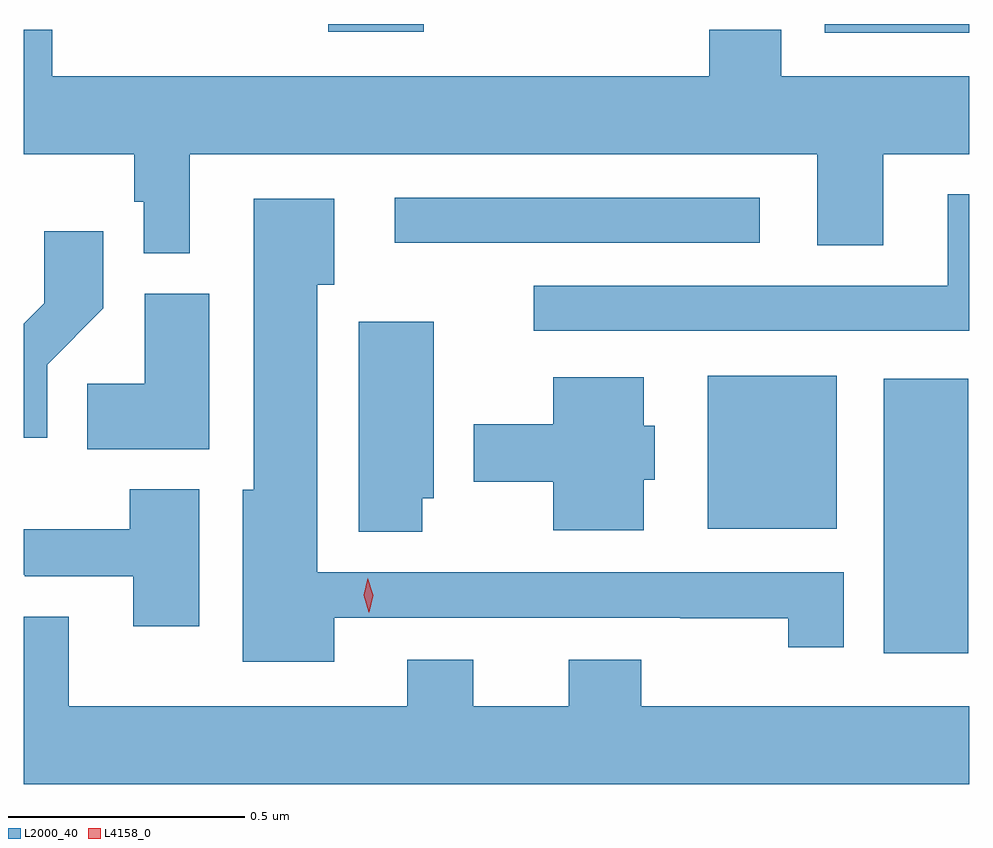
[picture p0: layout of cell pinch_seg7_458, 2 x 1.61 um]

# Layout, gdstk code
import gdstk
lib = gdstk.Library(unit=1e-6, precision=1e-09)
def R(c, l, rs):  # rectangles x0, y0, x1, y1
    for r in rs: c.add(gdstk.rectangle(r[:2], r[2:], *l))
def P(c, l, *ps):  # polygons
    for p in ps: c.add(gdstk.Polygon(p, *l))
L2000_40 = (2000, 40)
L4158_0 = (4158, 0)

pinch_seg7_458 = lib.new_cell('pinch_seg7_458')
R(pinch_seg7_458, L2000_40, [(271.7,1076.816,271.879,1077.397), (271.328,1077.08,271.6,1077.403), (270.666,1077.684,271.438,1077.78), (271.575,1078.128,271.881,1078.147), (270.525,1078.131,270.727,1078.147)])
P(pinch_seg7_458, L2000_40, [(270.232,1077.872),(271.559,1077.872),(271.559,1077.679),(271.699,1077.679),(271.699,1077.872),(271.881,1077.872),(271.881,1078.036),(271.483,1078.036),(271.483,1078.135),(271.331,1078.135),(271.331,1078.036),(269.942,1078.036),(269.942,1078.135),(269.881,1078.135),(269.881,1077.872),(270.115,1077.872),(270.115,1077.771),(270.135,1077.771),(270.135,1077.662),(270.232,1077.662)],
  [(271.881,1077.787),(271.835,1077.787),(271.835,1077.594),(270.96,1077.594),(270.96,1077.498),(271.881,1077.498)],
  [(270.538,1076.892),(271.27,1076.892),(271.27,1076.891),(271.498,1076.891),(271.498,1076.829),(271.615,1076.829),(271.615,1076.988),(270.502,1076.988),(270.502,1077.596),(270.538,1077.596),(270.538,1077.778),(270.368,1077.778),(270.368,1077.162),(270.344,1077.162),(270.344,1076.798),(270.538,1076.798)],
  [(269.931,1077.427),(270.05,1077.546),(270.05,1077.709),(269.925,1077.709),(269.925,1077.557),(269.881,1077.513),(269.881,1077.272),(269.931,1077.272)],
  [(270.274,1077.577),(270.137,1077.577),(270.137,1077.386),(270.016,1077.386),(270.016,1077.248),(270.274,1077.248)],
  [(270.724,1077.144),(270.748,1077.144),(270.748,1077.517),(270.59,1077.517),(270.59,1077.073),(270.724,1077.073)],
  [(271.192,1077.183),(271.216,1077.183),(271.216,1077.297),(271.192,1077.297),(271.192,1077.4),(271.001,1077.4),(271.001,1077.301),(270.833,1077.301),(270.833,1077.179),(271.001,1077.179),(271.001,1077.077),(271.192,1077.077)],
  [(270.253,1077.163),(270.106,1077.163),(270.106,1077.079),(269.881,1077.079),(269.881,1076.982),(269.884,1076.982),(269.884,1076.979),(270.113,1076.979),(270.113,1076.874),(270.253,1076.874)],
  [(271.881,1076.704),(271.187,1076.704),(271.187,1076.803),(271.034,1076.803),(271.034,1076.704),(270.832,1076.704),(270.832,1076.803),(270.692,1076.803),(270.692,1076.704),(269.977,1076.704),(269.977,1076.894),(269.881,1076.894),(269.881,1076.54),(271.881,1076.54)])
P(pinch_seg7_458, L4158_0, [(270.611,1076.903),(270.611,1076.903),(270.6,1076.939),(270.609,1076.975),(270.609,1076.975),(270.609,1076.975),(270.62,1076.939),(270.612,1076.903)])

lib.write_gds('pinch_seg7_458.gds')
